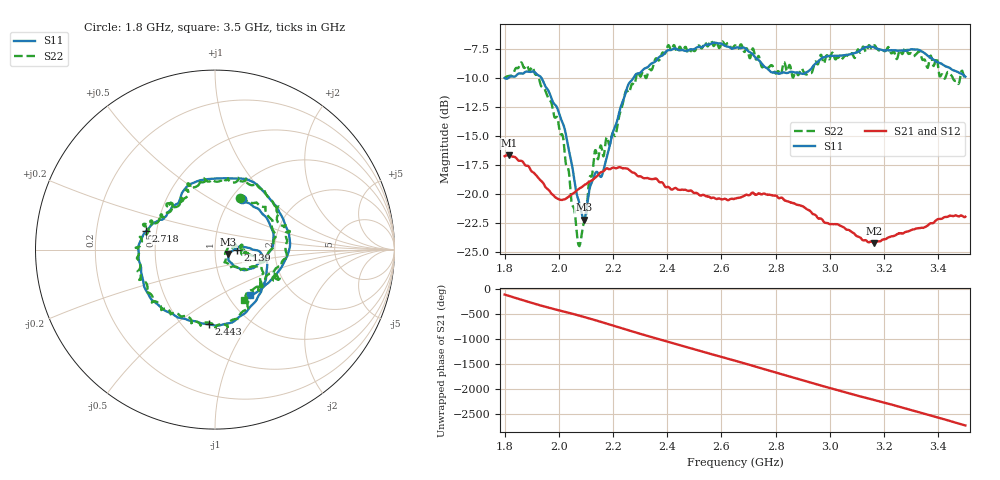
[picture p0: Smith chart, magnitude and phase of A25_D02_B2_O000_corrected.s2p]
! Created with skrf 1.9.0 (http://scikit-rf.org).
# Hz S RI R 50.0
!freq ReS11 ImS11 ReS21 ImS21 ReS12 ImS12 ReS22 ImS22
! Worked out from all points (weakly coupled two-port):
!   1601 points, 1.8 GHz to 3.5 GHz, reference 50 ohm
!   highest |S21| = -16.64 dB at 1.816 GHz (marker M1); lowest = -24.2 dB at 3.163 GHz (marker M2)
!   lowest |S11| = -22.2 dB at 2.092 GHz (marker M3), VSWR 1.17, Z = 57.9 - j2.88 ohm
!   |S11| at or under -10 dB: 1.801 GHz to 1.813 GHz (12.2 MHz wide, 0.676 % of centre); 1.936 GHz to 2.275 GHz (338.5 MHz wide, 16.1 % of centre)
!   |S22| runs from -24.5 to -6.8 dB; largest |S21 - S12| = 0.0025
!   S11 on the Smith chart (normalised r, x): 1.8 GHz: 1.12, +0.70; 2.139 GHz: 1.29, -0.01; 2.443 GHz: 0.66, -0.67; 2.718 GHz: 0.44, +0.11; 3.5 GHz: 1.27, -0.71
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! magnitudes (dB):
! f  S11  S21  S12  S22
! 1.8 GHz  -10.0  -16.7  -16.7  -9.9
! 1.816 GHz  -9.9  -16.6  -16.6  -9.8
! 1.902 GHz  -9.4  -18.1  -18.0  -9.0
! 1.968 GHz  -11.4  -19.8  -19.8  -11.9
! 2.021 GHz  -14.3  -20.4  -20.4  -16.3
! 2.07 GHz  -20.3  -19.6  -19.6  -24.1
! 2.084 GHz  -21.6  -19.4  -19.4  -23.6
! 2.092 GHz  -22.2  -19.2  -19.3  -22.5
! 2.139 GHz  -18.1  -18.5  -18.5  -16.5
! 2.162 GHz  -18.1  -18.1  -18.0  -16.6
! 2.209 GHz  -14.1  -17.8  -17.7  -14.9
! 2.259 GHz  -10.4  -17.9  -17.9  -11.2
! 2.367 GHz  -8.3  -18.9  -18.8  -8.5
! 2.443 GHz  -7.6  -19.6  -19.6  -7.4
! 2.65 GHz  -7.4  -20.4  -20.4  -7.2
! 2.718 GHz  -8.0  -19.9  -19.8  -7.5
! 2.788 GHz  -9.5  -20.1  -20.1  -8.9
! 2.934 GHz  -9.1  -21.6  -21.6  -9.5
! 3.163 GHz  -7.3  -24.2  -24.2  -7.2
! 3.217 GHz  -7.6  -23.7  -23.7  -7.4
! 3.328 GHz  -7.6  -22.9  -22.9  -7.7
! 3.5 GHz  -9.9  -21.9  -21.9  -9.8
